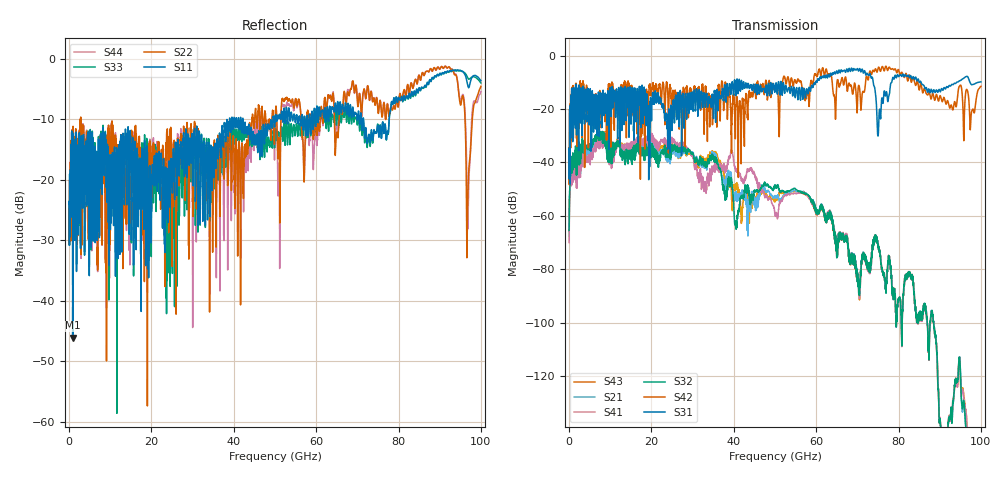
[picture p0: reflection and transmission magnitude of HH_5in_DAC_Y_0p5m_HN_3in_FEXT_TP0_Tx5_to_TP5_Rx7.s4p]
# GHz S RI R 45
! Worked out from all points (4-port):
!   4000 points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, 25 MHz to 100 GHz, reference 45 ohm
!   strongest paths, dB at 25 MHz, 25.02 GHz, 50.02 GHz, 75.03 GHz, 100 GHz:
!     S31: -35.1, -26.8, -12.5, -30.1, -9.8
!     S42: -34.9, -18.5, -12.5, -4.7, -11.5
!     S32: -65.4, -34.5, -48.6, -71.4, -178.4
!     S41: -70.0, -31.7, -59.0, -71.3, -178.8
!     S21: -67.6, -35.5, -52.5, -71.3, -176.5
!     S43: -67.4, -34.1, -54.0, -71.3, -179.9
!   lowest |S11| = -46.1 dB at 900 MHz (marker M1), VSWR 1.01, Z = 44.6 + j0.181 ohm
!   |S11| at or under -10 dB: start of sweep to 38.97 GHz; 42.22 GHz to 49.54 GHz (7.317 GHz wide, 16 % of centre); 71.52 GHz to 77.73 GHz (6.209 GHz wide, 8.32 % of centre) (the widest 3 of 32)
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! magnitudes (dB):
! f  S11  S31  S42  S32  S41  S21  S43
! 25 MHz  -24.0  -35.1  -34.9  -65.4  -70.0  -67.6  -67.4
! 900 MHz  -46.1  -32.2  -20.6  -37.9  -41.7  -39.9  -39.9
! 39.4 GHz  -10.9  -13.1  -29.0  -45.9  -35.2  -44.4  -49.1
! 70.1 GHz  -9.8  -5.0  -15.0  -81.8  -81.4  -81.5  -81.7
! 75.22 GHz  -12.9  -23.9  -4.3  -71.9  -71.7  -71.8  -71.8
! 96.9 GHz  -4.6  -8.2  -14.2  -172.2  -161.8  -161.8  -167.8
! 100 GHz  -3.6  -9.8  -11.5  -178.4  -178.8  -176.5  -179.9
